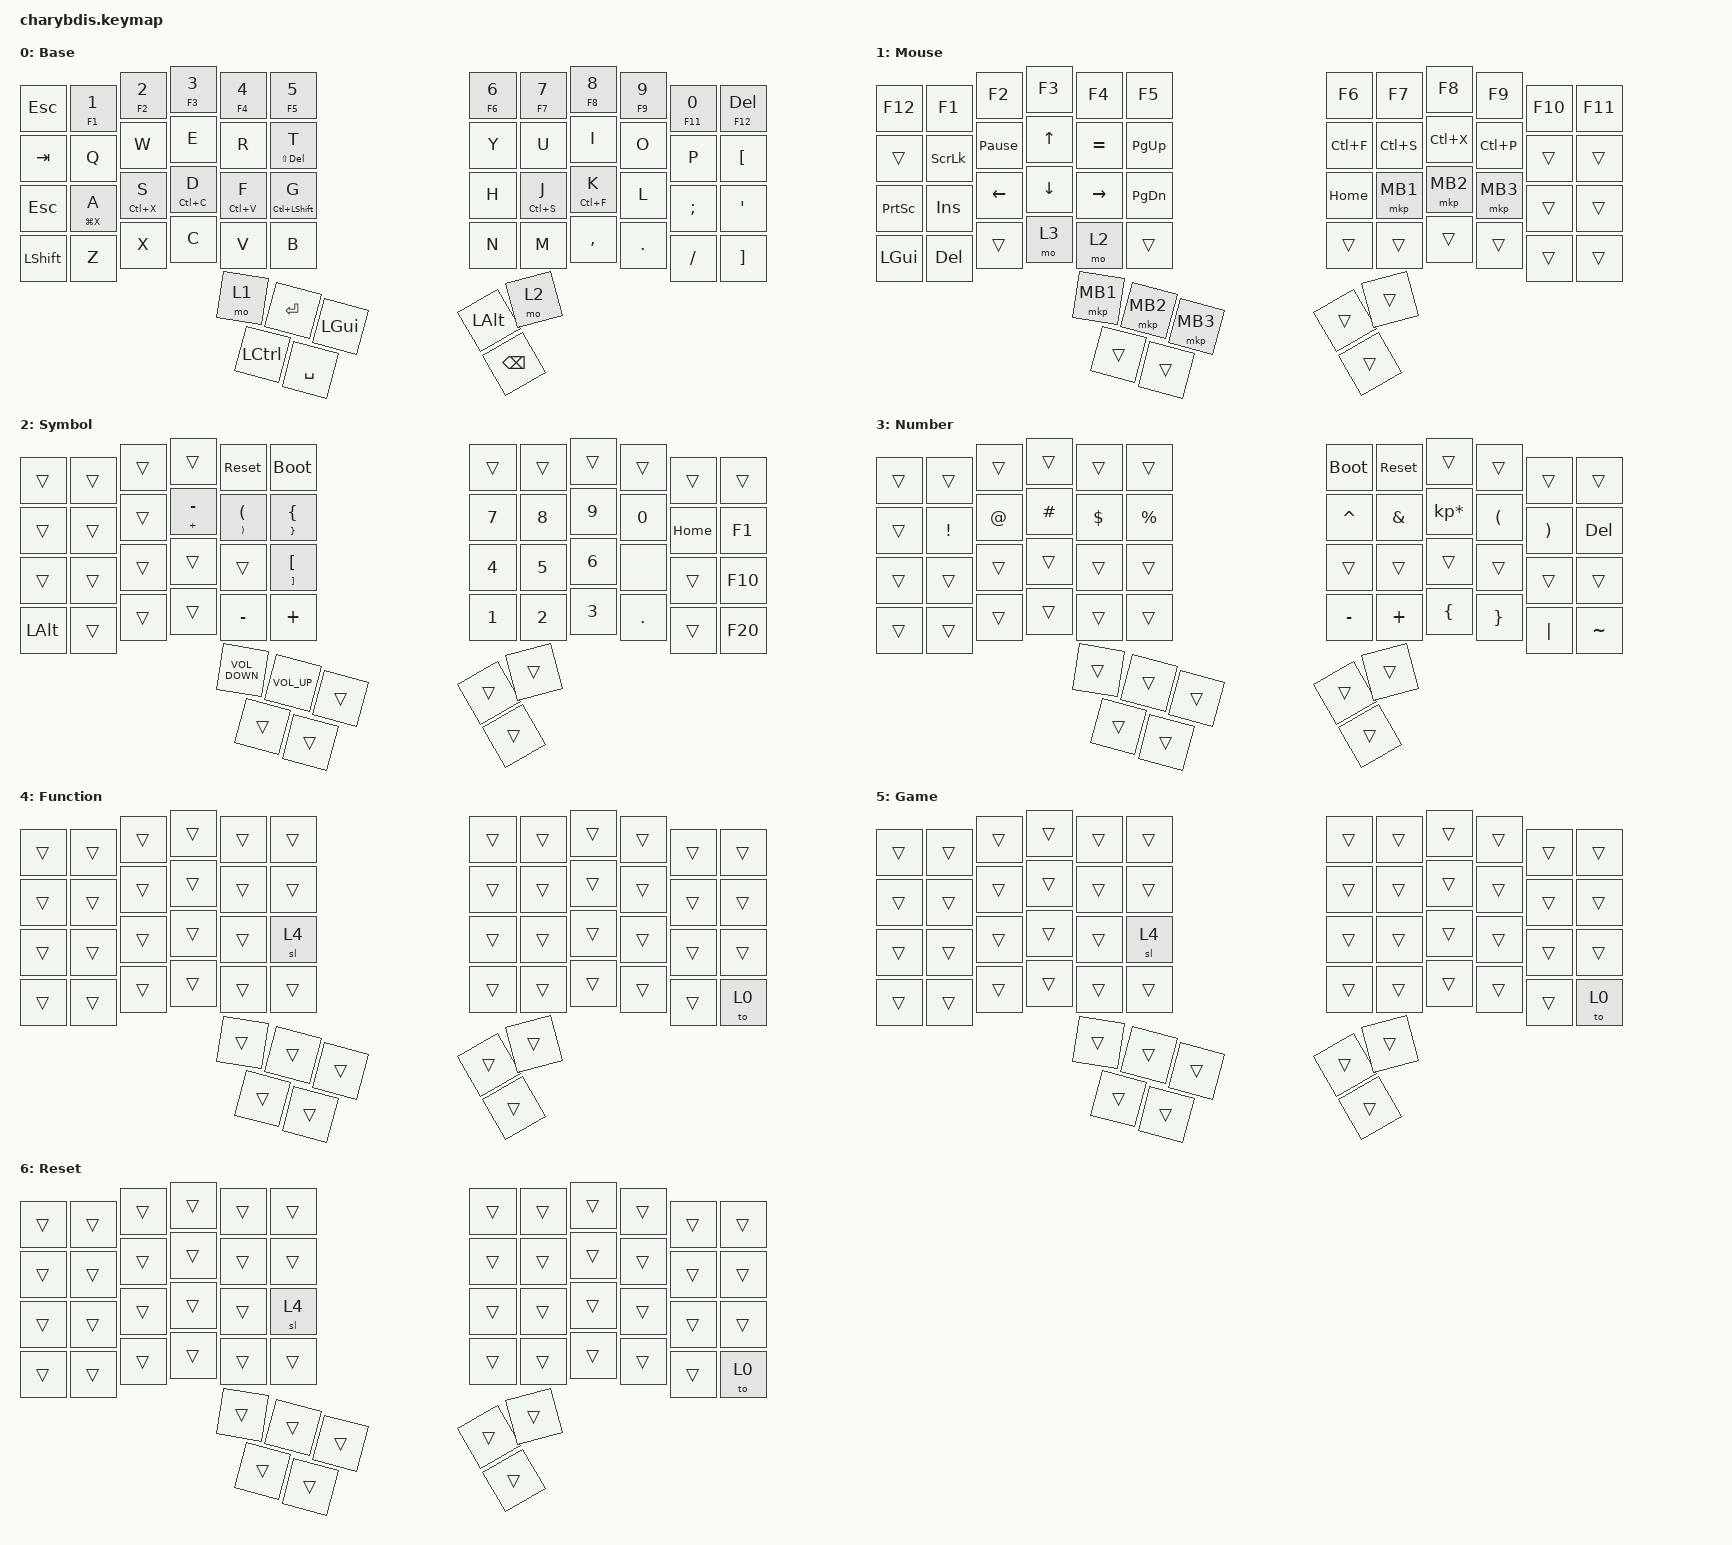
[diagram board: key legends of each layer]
#include <behaviors.dtsi>
#include <dt-bindings/zmk/keys.h>
#include <dt-bindings/zmk/pointing.h>

#define BASE 0
#define MOUSE 1
#define SYMBOL 2
#define NUMBER 3
#define FUNCTION 4
#define GAME 5
#define RESET 6
#define KEYS_L 0 1 2 3 4 10 11 12 13 14 20 21 22 23 24
#define KEYS_R 5 6 7 8 9 15 16 17 18 19 25 26 27 28 29
#define THUMBS 30 31 32 33 34 35

&sk {
    release-after-ms = <600>;
    quick-release;
};

&sl { ignore-modifiers; };

&mt { flavor = "tap-preferred"; };

&lt {
    flavor = "balanced";
    tapping-term-ms = <200>;
    quick-tap-ms = <175>;
};

&caps_word { /delete-property/ ignore-modifiers; };

/ {
    behaviors {
        hml: hml {
            compatible = "zmk,behavior-hold-tap";
            #binding-cells = <2>;
            flavor = "balanced";
            tapping-term-ms = <2000>;
            quick-tap-ms = <175>;
            require-prior-idle-ms = <250>;
            hold-trigger-key-positions = <KEYS_R THUMBS>;
            hold-trigger-on-release;
            bindings = <&kp>, <&kp>;
        };

        hmr: hmr {
            compatible = "zmk,behavior-hold-tap";
            #binding-cells = <2>;
            flavor = "balanced";
            tapping-term-ms = <2000>;
            quick-tap-ms = <175>;
            require-prior-idle-ms = <250>;
            hold-trigger-key-positions = <KEYS_L THUMBS>;
            hold-trigger-on-release;
            bindings = <&kp>, <&kp>;
        };

        hml_s: hml_s {
            compatible = "zmk,behavior-hold-tap";
            #binding-cells = <2>;
            flavor = "balanced";
            tapping-term-ms = <2000>;
            quick-tap-ms = <175>;
            require-prior-idle-ms = <0>;
            hold-trigger-key-positions = <KEYS_R THUMBS>;
            hold-trigger-on-release;
            bindings = <&kp>, <&kp>;
        };

        hmr_s: hmr_s {
            compatible = "zmk,behavior-hold-tap";
            #binding-cells = <2>;
            flavor = "balanced";
            tapping-term-ms = <2000>;
            quick-tap-ms = <175>;
            require-prior-idle-ms = <0>;
            hold-trigger-key-positions = <KEYS_L THUMBS>;
            hold-trigger-on-release;
            bindings = <&kp>, <&kp>;
        };

        smart_shift: smart_shift {
            compatible = "zmk,behavior-mod-morph";
            #binding-cells = <0>;
            bindings = <&sk LSHIFT>, <&caps_word>;

            mods = <(MOD_LSFT)>;
        };
    };

    combos {
        compatible = "zmk,combos";
        timeout-ms = <20>;
        require-prior-idle-ms = <250>;

        combo_reset_layer_left {
            key-positions = <20 24>;
            bindings = <&to RESET>;
        };

        combo_reset_layer_right {
            key-positions = <25 29>;
            bindings = <&to RESET>;
        };

        combo_reset_central {
            key-positions = <32 33>;
            bindings = <&bootloader>;
            require-prior-idle-ms = <2000>;
        };

        combo_normal {
            key-positions = <7 8>;
            bindings = <&to BASE>;
        };

        combo_fn {
            key-positions = <27 28>;
            bindings = <&sl FUNCTION>;
        };

        combo_genshin {
            key-positions = <5 9>;
            bindings = <&to GAME>;
        };

        combo_esc {
            key-positions = <1 2>;
            bindings = <&kp ESCAPE>;
        };

        combo_tab {
            key-positions = <2 3>;
            bindings = <&kp TAB>;
        };

        combo_cdel {
            key-positions = <11 12>;
            bindings = <&kp LC(BACKSPACE)>;
        };

        combo_unlock {
            key-positions = <0 4>;
            bindings = <&studio_unlock>;
        };
    };

    chosen { zmk,physical-layout = &charybdis_6col_layout; };

    keymap {
        compatible = "zmk,keymap";

        Base {
            label = "Base";
            display-name = "Base";
            bindings = <
&kp ESC    &mt F1 N1    &mt F2 N2    &mt F3 N3    &mt F4 N4     &mt F5 N5          &mt F6 N6  &mt F7 N7    &mt F8 N8    &mt F9 N9  &mt F11 N0  &mt F12 DEL
&kp TAB    &kp Q        &kp W        &kp E        &kp R         &mt LS(DEL) T      &kp Y      &kp U        &kp I        &kp O      &kp P       &kp LEFT_BRACKET
&kp ESC    &mt LG(X) A  &mt LC(X) S  &mt LC(C) D  &mt LC(V) F   &mt LC(LSHFT) G    &kp H      &mt LC(S) J  &mt LC(F) K  &kp L      &kp SEMI    &kp APOS
&kp LSHFT  &kp Z        &kp X        &kp C        &kp V         &kp B              &kp N      &kp M        &kp COMMA    &kp DOT    &kp FSLH    &kp RIGHT_BRACKET
                                     &mo 1        &kp RET       &kp LEFT_GUI       &kp LCTRL  &kp SPACE
                                                  &kp LEFT_ALT  &mo 2              &kp BSPC
            >;
        };

        Mouse {
            label = "Mouse";
            display-name = "Mouse";
            bindings = <
&kp F12          &kp F1          &kp F2           &kp F3    &kp F4     &kp F5       &kp F6     &kp F7     &kp F8     &kp F9     &kp F10  &kp F11
&trans           &kp SCROLLLOCK  &kp PAUSE_BREAK  &kp UP    &kp EQUAL  &kp PG_UP    &kp LC(F)  &kp LC(S)  &kp LC(X)  &kp LC(P)  &trans   &trans
&kp PRINTSCREEN  &kp INSERT      &kp LEFT         &kp DOWN  &kp RIGHT  &kp PG_DN    &kp HOME   &mkp MB1   &mkp MB2   &mkp MB3   &trans   &trans
&kp LGUI         &kp DEL         &trans           &mo 3     &mo 2      &trans       &trans     &trans     &trans     &trans     &trans   &trans
                                                  &mkp MB1  &mkp MB2   &mkp MB3     &trans     &trans
                                                            &trans     &trans       &trans
            >;
        };

        Sym {
            label = "Symbol";
            display-name = "Symbol";
            bindings = <
&trans        &trans  &trans  &trans             &sys_reset       &bootloader      &trans  &trans  &trans  &trans   &trans    &trans
&trans        &trans  &trans  &mt PLUS MINUS     &mt RPAR LPAR    &mt RBRC LBRC    &kp N7  &kp N8  &kp N9  &kp N0   &kp HOME  &kp F1
&trans        &trans  &trans  &trans             &trans           &mt RBKT LBKT    &kp N4  &kp N5  &kp N6  &none    &trans    &kp F10
&kp LEFT_ALT  &trans  &trans  &trans             &kp MINUS        &kp PLUS         &kp N1  &kp N2  &kp N3  &kp DOT  &trans    &kp F20
                              &kp C_VOLUME_DOWN  &kp C_VOLUME_UP  &trans           &trans  &trans
                                                 &trans           &trans           &trans
            >;
        };

        Num {
            label = "Number";
            display-name = "Number";
            bindings = <
&trans  &trans    &trans  &trans    &trans    &trans       &bootloader  &sys_reset  &trans           &trans    &trans    &trans
&trans  &kp EXCL  &kp AT  &kp HASH  &kp DLLR  &kp PRCNT    &kp CARET    &kp AMPS    &kp KP_MULTIPLY  &kp LPAR  &kp RPAR  &kp DEL
&trans  &trans    &trans  &trans    &trans    &trans       &trans       &trans      &trans           &trans    &trans    &trans
&trans  &trans    &trans  &trans    &trans    &trans       &kp MINUS    &kp PLUS    &kp LBRC         &kp RBRC  &kp PIPE  &kp TILDE
                          &trans    &trans    &trans       &trans       &trans
                                    &trans    &trans       &trans
            >;
        };

        Fun {
            label = "Function";
            display-name = "Function";
            bindings = <
&trans  &trans  &trans  &trans  &trans  &trans    &trans  &trans  &trans  &trans  &trans  &trans
&trans  &trans  &trans  &trans  &trans  &trans    &trans  &trans  &trans  &trans  &trans  &trans
&trans  &trans  &trans  &trans  &trans  &sl 4     &trans  &trans  &trans  &trans  &trans  &trans
&trans  &trans  &trans  &trans  &trans  &trans    &trans  &trans  &trans  &trans  &trans  &to 0
                        &trans  &trans  &trans    &trans  &trans
                                &trans  &trans    &trans
            >;
        };

        Button {
            label = "Game";
            display-name = "Game";
            bindings = <
&trans  &trans  &trans  &trans  &trans  &trans    &trans  &trans  &trans  &trans  &trans  &trans
&trans  &trans  &trans  &trans  &trans  &trans    &trans  &trans  &trans  &trans  &trans  &trans
&trans  &trans  &trans  &trans  &trans  &sl 4     &trans  &trans  &trans  &trans  &trans  &trans
&trans  &trans  &trans  &trans  &trans  &trans    &trans  &trans  &trans  &trans  &trans  &to 0
                        &trans  &trans  &trans    &trans  &trans
                                &trans  &trans    &trans
            >;
        };

        Reset {
            label = "Reset";
            display-name = "Reset";
            bindings = <
&trans  &trans  &trans  &trans  &trans  &trans    &trans  &trans  &trans  &trans  &trans  &trans
&trans  &trans  &trans  &trans  &trans  &trans    &trans  &trans  &trans  &trans  &trans  &trans
&trans  &trans  &trans  &trans  &trans  &sl 4     &trans  &trans  &trans  &trans  &trans  &trans
&trans  &trans  &trans  &trans  &trans  &trans    &trans  &trans  &trans  &trans  &trans  &to 0
                        &trans  &trans  &trans    &trans  &trans
                                &trans  &trans    &trans
            >;
        };
    };
};
